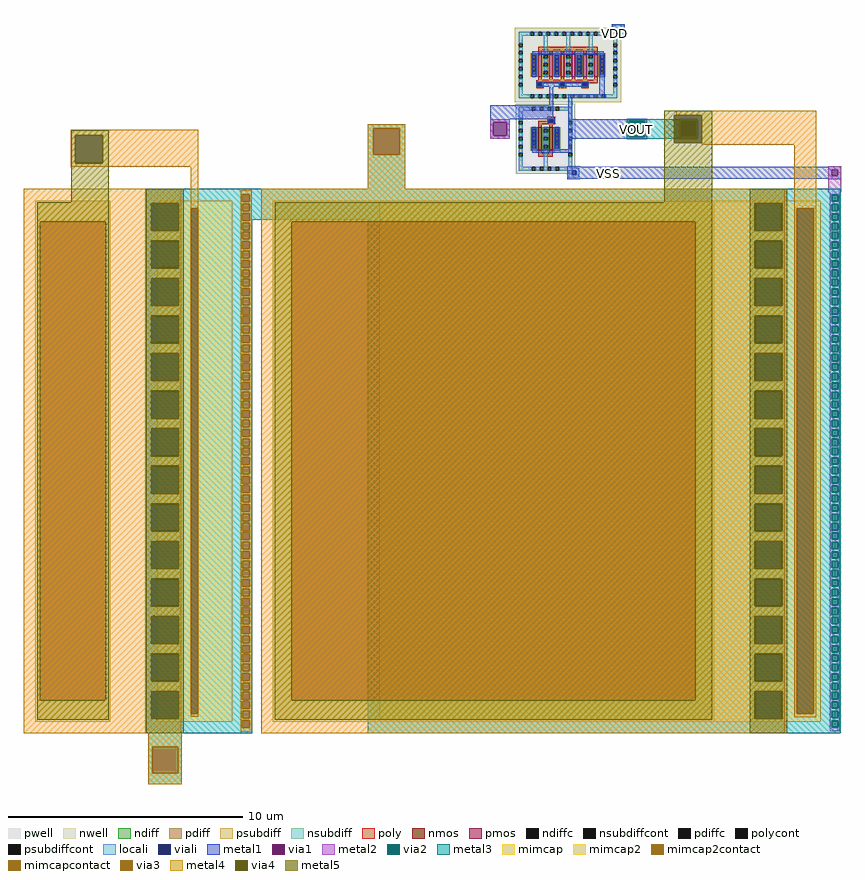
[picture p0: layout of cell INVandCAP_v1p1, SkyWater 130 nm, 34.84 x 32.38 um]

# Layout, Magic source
magic
tech sky130A
magscale 1 2
<< locali >>
rect 5018 6437 5118 6470
rect 5018 6403 5051 6437
rect 5085 6403 5118 6437
rect 5018 6370 5118 6403
rect 4646 5225 4734 5252
rect 4646 5191 4673 5225
rect 4707 5191 4734 5225
rect 4646 5164 4734 5191
<< viali >>
rect 5051 6403 5085 6437
rect 4673 5191 4707 5225
<< metal1 >>
rect 5012 6437 5124 6476
rect 5012 6403 5051 6437
rect 5085 6403 5124 6437
rect 5012 6364 5124 6403
rect 3976 5666 4512 5784
rect 3976 5640 4144 5666
rect 3976 5524 4002 5640
rect 4118 5524 4144 5640
rect 3976 5498 4144 5524
rect 4674 5640 5310 5666
rect 4674 5524 5168 5640
rect 5284 5524 5310 5640
rect 4674 5498 5310 5524
rect 4634 5258 4744 5264
rect 6862 5258 6968 5264
rect 4634 5234 6968 5258
rect 4634 5225 6886 5234
rect 4634 5191 4673 5225
rect 4707 5191 6886 5225
rect 4634 5182 6886 5191
rect 6938 5182 6968 5234
rect 4634 5158 6968 5182
rect 4634 5152 4744 5158
rect 6862 5152 6968 5158
<< via1 >>
rect 4002 5524 4118 5640
rect 5168 5524 5284 5640
rect 6886 5182 6938 5234
<< metal2 >>
rect 3976 5640 4144 5666
rect 3976 5524 4002 5640
rect 4118 5524 4144 5640
rect 3976 5498 4144 5524
rect 5138 5650 5314 5670
rect 5138 5514 5158 5650
rect 5294 5514 5314 5650
rect 5138 5494 5314 5514
rect 6856 5234 6968 5264
rect 6856 5182 6886 5234
rect 6938 5182 6968 5234
rect 6856 5044 6968 5182
<< via2 >>
rect 5158 5640 5294 5650
rect 5158 5524 5168 5640
rect 5168 5524 5284 5640
rect 5284 5524 5294 5640
rect 5158 5514 5294 5524
<< metal3 >>
rect 5140 5654 5746 5666
rect 5140 5650 5590 5654
rect 5140 5514 5158 5650
rect 5294 5514 5590 5650
rect 5140 5510 5590 5514
rect 5734 5510 5746 5654
rect 5140 5498 5746 5510
<< via3 >>
rect 5590 5510 5734 5654
<< metal4 >>
rect 5584 5654 5740 5660
rect 5584 5510 5590 5654
rect 5734 5510 5740 5654
rect 5584 5504 5740 5510
use CAPOSC_v1p1  CAPOSC_v1p1_0
transform 1 0 -3068 0 1 432
box 3068 -432 10032 5306
use INV_v1p1  INV_v1p1_0
transform 1 0 2818 0 1 5366
box 1366 -168 2276 1080
<< labels >>
flabel metal3 s 5220 5580 5220 5580 0 FreeSans 2000 0 0 0 VOUT
port 1 nsew
flabel metal1 s 5034 6392 5034 6392 0 FreeSans 2000 0 0 0 VDD
port 2 nsew
flabel metal1 s 4984 5204 4984 5204 0 FreeSans 2000 0 0 0 VSS
port 3 nsew
<< end >>

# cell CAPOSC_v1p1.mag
magic
tech sky130A
magscale 1 2
<< metal2 >>
rect 9938 4588 10022 4622
rect 9938 4532 9952 4588
rect 10008 4532 10022 4588
rect 9938 4508 10022 4532
rect 9938 4452 9952 4508
rect 10008 4452 10022 4508
rect 9938 4428 10022 4452
rect 9938 4372 9952 4428
rect 10008 4372 10022 4428
rect 9938 4348 10022 4372
rect 9938 4292 9952 4348
rect 10008 4292 10022 4348
rect 9938 4268 10022 4292
rect 9938 4212 9952 4268
rect 10008 4212 10022 4268
rect 9938 4188 10022 4212
rect 9938 4132 9952 4188
rect 10008 4132 10022 4188
rect 9938 4108 10022 4132
rect 9938 4052 9952 4108
rect 10008 4052 10022 4108
rect 9938 4028 10022 4052
rect 9938 3972 9952 4028
rect 10008 3972 10022 4028
rect 9938 3948 10022 3972
rect 9938 3892 9952 3948
rect 10008 3892 10022 3948
rect 9938 3868 10022 3892
rect 9938 3812 9952 3868
rect 10008 3812 10022 3868
rect 9938 3788 10022 3812
rect 9938 3732 9952 3788
rect 10008 3732 10022 3788
rect 9938 3708 10022 3732
rect 9938 3652 9952 3708
rect 10008 3652 10022 3708
rect 9938 3628 10022 3652
rect 9938 3572 9952 3628
rect 10008 3572 10022 3628
rect 9938 3548 10022 3572
rect 9938 3492 9952 3548
rect 10008 3492 10022 3548
rect 9938 3468 10022 3492
rect 9938 3412 9952 3468
rect 10008 3412 10022 3468
rect 9938 3388 10022 3412
rect 9938 3332 9952 3388
rect 10008 3332 10022 3388
rect 9938 3308 10022 3332
rect 9938 3252 9952 3308
rect 10008 3252 10022 3308
rect 9938 3228 10022 3252
rect 9938 3172 9952 3228
rect 10008 3172 10022 3228
rect 9938 3148 10022 3172
rect 9938 3092 9952 3148
rect 10008 3092 10022 3148
rect 9938 3068 10022 3092
rect 9938 3012 9952 3068
rect 10008 3012 10022 3068
rect 9938 2988 10022 3012
rect 9938 2932 9952 2988
rect 10008 2932 10022 2988
rect 9938 2908 10022 2932
rect 9938 2852 9952 2908
rect 10008 2852 10022 2908
rect 9938 2828 10022 2852
rect 9938 2772 9952 2828
rect 10008 2772 10022 2828
rect 9938 2748 10022 2772
rect 9938 2692 9952 2748
rect 10008 2692 10022 2748
rect 9938 2668 10022 2692
rect 9938 2612 9952 2668
rect 10008 2612 10022 2668
rect 9938 2588 10022 2612
rect 9938 2532 9952 2588
rect 10008 2532 10022 2588
rect 9938 2508 10022 2532
rect 9938 2452 9952 2508
rect 10008 2452 10022 2508
rect 9938 2428 10022 2452
rect 9938 2372 9952 2428
rect 10008 2372 10022 2428
rect 9938 2348 10022 2372
rect 9938 2292 9952 2348
rect 10008 2292 10022 2348
rect 9938 2268 10022 2292
rect 9938 2212 9952 2268
rect 10008 2212 10022 2268
rect 9938 2188 10022 2212
rect 9938 2132 9952 2188
rect 10008 2132 10022 2188
rect 9938 2108 10022 2132
rect 9938 2052 9952 2108
rect 10008 2052 10022 2108
rect 9938 2028 10022 2052
rect 9938 1972 9952 2028
rect 10008 1972 10022 2028
rect 9938 1948 10022 1972
rect 9938 1892 9952 1948
rect 10008 1892 10022 1948
rect 9938 1868 10022 1892
rect 9938 1812 9952 1868
rect 10008 1812 10022 1868
rect 9938 1788 10022 1812
rect 9938 1732 9952 1788
rect 10008 1732 10022 1788
rect 9938 1708 10022 1732
rect 9938 1652 9952 1708
rect 10008 1652 10022 1708
rect 9938 1628 10022 1652
rect 9938 1572 9952 1628
rect 10008 1572 10022 1628
rect 9938 1548 10022 1572
rect 9938 1492 9952 1548
rect 10008 1492 10022 1548
rect 9938 1468 10022 1492
rect 9938 1412 9952 1468
rect 10008 1412 10022 1468
rect 9938 1388 10022 1412
rect 9938 1332 9952 1388
rect 10008 1332 10022 1388
rect 9938 1308 10022 1332
rect 9938 1252 9952 1308
rect 10008 1252 10022 1308
rect 9938 1228 10022 1252
rect 9938 1172 9952 1228
rect 10008 1172 10022 1228
rect 9938 1148 10022 1172
rect 9938 1092 9952 1148
rect 10008 1092 10022 1148
rect 9938 1068 10022 1092
rect 9938 1012 9952 1068
rect 10008 1012 10022 1068
rect 9938 988 10022 1012
rect 9938 932 9952 988
rect 10008 932 10022 988
rect 9938 908 10022 932
rect 9938 852 9952 908
rect 10008 852 10022 908
rect 9938 828 10022 852
rect 9938 772 9952 828
rect 10008 772 10022 828
rect 9938 748 10022 772
rect 9938 692 9952 748
rect 10008 692 10022 748
rect 9938 668 10022 692
rect 9938 612 9952 668
rect 10008 612 10022 668
rect 9938 588 10022 612
rect 9938 532 9952 588
rect 10008 532 10022 588
rect 9938 508 10022 532
rect 9938 452 9952 508
rect 10008 452 10022 508
rect 9938 428 10022 452
rect 9938 372 9952 428
rect 10008 372 10022 428
rect 9938 348 10022 372
rect 9938 292 9952 348
rect 10008 292 10022 348
rect 9938 268 10022 292
rect 9938 212 9952 268
rect 10008 212 10022 268
rect 9938 188 10022 212
rect 9938 132 9952 188
rect 10008 132 10022 188
rect 9938 108 10022 132
rect 9938 52 9952 108
rect 10008 52 10022 108
rect 9938 18 10022 52
<< via2 >>
rect 9952 4532 10008 4588
rect 9952 4452 10008 4508
rect 9952 4372 10008 4428
rect 9952 4292 10008 4348
rect 9952 4212 10008 4268
rect 9952 4132 10008 4188
rect 9952 4052 10008 4108
rect 9952 3972 10008 4028
rect 9952 3892 10008 3948
rect 9952 3812 10008 3868
rect 9952 3732 10008 3788
rect 9952 3652 10008 3708
rect 9952 3572 10008 3628
rect 9952 3492 10008 3548
rect 9952 3412 10008 3468
rect 9952 3332 10008 3388
rect 9952 3252 10008 3308
rect 9952 3172 10008 3228
rect 9952 3092 10008 3148
rect 9952 3012 10008 3068
rect 9952 2932 10008 2988
rect 9952 2852 10008 2908
rect 9952 2772 10008 2828
rect 9952 2692 10008 2748
rect 9952 2612 10008 2668
rect 9952 2532 10008 2588
rect 9952 2452 10008 2508
rect 9952 2372 10008 2428
rect 9952 2292 10008 2348
rect 9952 2212 10008 2268
rect 9952 2132 10008 2188
rect 9952 2052 10008 2108
rect 9952 1972 10008 2028
rect 9952 1892 10008 1948
rect 9952 1812 10008 1868
rect 9952 1732 10008 1788
rect 9952 1652 10008 1708
rect 9952 1572 10008 1628
rect 9952 1492 10008 1548
rect 9952 1412 10008 1468
rect 9952 1332 10008 1388
rect 9952 1252 10008 1308
rect 9952 1172 10008 1228
rect 9952 1092 10008 1148
rect 9952 1012 10008 1068
rect 9952 932 10008 988
rect 9952 852 10008 908
rect 9952 772 10008 828
rect 9952 692 10008 748
rect 9952 612 10008 668
rect 9952 532 10008 588
rect 9952 452 10008 508
rect 9952 372 10008 428
rect 9952 292 10008 348
rect 9952 212 10008 268
rect 9952 132 10008 188
rect 9952 52 10008 108
<< metal3 >>
rect 6000 5154 6320 5190
rect 6000 4930 6048 5154
rect 6272 4930 6320 5154
rect 6000 4640 6320 4930
rect 5016 4588 10032 4640
rect 5016 4532 9952 4588
rect 10008 4532 10032 4588
rect 5016 4508 10032 4532
rect 5016 4452 9952 4508
rect 10008 4452 10032 4508
rect 5016 4428 10032 4452
rect 5016 4374 9952 4428
rect 6000 4372 9952 4374
rect 10008 4372 10032 4428
rect 6000 4348 10032 4372
rect 6000 4292 9952 4348
rect 10008 4292 10032 4348
rect 6000 4268 10032 4292
rect 6000 4212 9952 4268
rect 10008 4212 10032 4268
rect 6000 4188 10032 4212
rect 6000 4132 9952 4188
rect 10008 4132 10032 4188
rect 6000 4108 10032 4132
rect 6000 4052 9952 4108
rect 10008 4052 10032 4108
rect 6000 4028 10032 4052
rect 6000 3972 9952 4028
rect 10008 3972 10032 4028
rect 6000 3948 10032 3972
rect 6000 3892 9952 3948
rect 10008 3892 10032 3948
rect 6000 3868 10032 3892
rect 6000 3812 9952 3868
rect 10008 3812 10032 3868
rect 6000 3788 10032 3812
rect 6000 3732 9952 3788
rect 10008 3732 10032 3788
rect 6000 3708 10032 3732
rect 6000 3652 9952 3708
rect 10008 3652 10032 3708
rect 6000 3628 10032 3652
rect 6000 3572 9952 3628
rect 10008 3572 10032 3628
rect 6000 3548 10032 3572
rect 6000 3492 9952 3548
rect 10008 3492 10032 3548
rect 6000 3468 10032 3492
rect 6000 3412 9952 3468
rect 10008 3412 10032 3468
rect 6000 3388 10032 3412
rect 6000 3332 9952 3388
rect 10008 3332 10032 3388
rect 6000 3308 10032 3332
rect 6000 3252 9952 3308
rect 10008 3252 10032 3308
rect 6000 3228 10032 3252
rect 6000 3172 9952 3228
rect 10008 3172 10032 3228
rect 6000 3148 10032 3172
rect 6000 3092 9952 3148
rect 10008 3092 10032 3148
rect 6000 3068 10032 3092
rect 6000 3012 9952 3068
rect 10008 3012 10032 3068
rect 6000 2988 10032 3012
rect 6000 2932 9952 2988
rect 10008 2932 10032 2988
rect 6000 2908 10032 2932
rect 6000 2852 9952 2908
rect 10008 2852 10032 2908
rect 6000 2828 10032 2852
rect 6000 2772 9952 2828
rect 10008 2772 10032 2828
rect 6000 2748 10032 2772
rect 6000 2692 9952 2748
rect 10008 2692 10032 2748
rect 6000 2668 10032 2692
rect 6000 2612 9952 2668
rect 10008 2612 10032 2668
rect 6000 2588 10032 2612
rect 6000 2532 9952 2588
rect 10008 2532 10032 2588
rect 6000 2508 10032 2532
rect 6000 2452 9952 2508
rect 10008 2452 10032 2508
rect 6000 2428 10032 2452
rect 6000 2372 9952 2428
rect 10008 2372 10032 2428
rect 6000 2348 10032 2372
rect 6000 2292 9952 2348
rect 10008 2292 10032 2348
rect 6000 2268 10032 2292
rect 6000 2212 9952 2268
rect 10008 2212 10032 2268
rect 6000 2188 10032 2212
rect 6000 2132 9952 2188
rect 10008 2132 10032 2188
rect 6000 2108 10032 2132
rect 6000 2052 9952 2108
rect 10008 2052 10032 2108
rect 6000 2028 10032 2052
rect 6000 1972 9952 2028
rect 10008 1972 10032 2028
rect 6000 1948 10032 1972
rect 6000 1892 9952 1948
rect 10008 1892 10032 1948
rect 6000 1868 10032 1892
rect 6000 1812 9952 1868
rect 10008 1812 10032 1868
rect 6000 1788 10032 1812
rect 6000 1732 9952 1788
rect 10008 1732 10032 1788
rect 6000 1708 10032 1732
rect 6000 1652 9952 1708
rect 10008 1652 10032 1708
rect 6000 1628 10032 1652
rect 6000 1572 9952 1628
rect 10008 1572 10032 1628
rect 6000 1548 10032 1572
rect 6000 1492 9952 1548
rect 10008 1492 10032 1548
rect 6000 1468 10032 1492
rect 6000 1412 9952 1468
rect 10008 1412 10032 1468
rect 6000 1388 10032 1412
rect 6000 1332 9952 1388
rect 10008 1332 10032 1388
rect 6000 1308 10032 1332
rect 6000 1252 9952 1308
rect 10008 1252 10032 1308
rect 6000 1228 10032 1252
rect 6000 1172 9952 1228
rect 10008 1172 10032 1228
rect 6000 1148 10032 1172
rect 6000 1092 9952 1148
rect 10008 1092 10032 1148
rect 6000 1068 10032 1092
rect 6000 1012 9952 1068
rect 10008 1012 10032 1068
rect 6000 988 10032 1012
rect 6000 932 9952 988
rect 10008 932 10032 988
rect 6000 908 10032 932
rect 6000 852 9952 908
rect 10008 852 10032 908
rect 6000 828 10032 852
rect 6000 772 9952 828
rect 10008 772 10032 828
rect 6000 748 10032 772
rect 6000 692 9952 748
rect 10008 692 10032 748
rect 6000 668 10032 692
rect 6000 612 9952 668
rect 10008 612 10032 668
rect 6000 588 10032 612
rect 6000 532 9952 588
rect 10008 532 10032 588
rect 6000 508 10032 532
rect 6000 452 9952 508
rect 10008 452 10032 508
rect 6000 428 10032 452
rect 6000 372 9952 428
rect 10008 372 10032 428
rect 6000 348 10032 372
rect 6000 292 9952 348
rect 10008 292 10032 348
rect 6000 268 10032 292
rect 6000 212 9952 268
rect 10008 212 10032 268
rect 6000 188 10032 212
rect 6000 132 9952 188
rect 10008 132 10032 188
rect 6000 108 10032 132
rect 6000 52 9952 108
rect 10008 52 10032 108
rect 4130 -116 4414 2
rect 6000 0 10032 52
rect 4130 -340 4162 -116
rect 4386 -340 4414 -116
rect 4130 -432 4414 -340
<< via3 >>
rect 6048 4930 6272 5154
rect 4162 -340 4386 -116
<< mimcap >>
rect 6100 4472 9860 4540
rect 6100 168 9656 4472
rect 9800 168 9860 4472
rect 6100 100 9860 168
<< mimcapcontact >>
rect 9656 168 9800 4472
<< metal4 >>
rect 8628 5268 9822 5306
rect 6000 5154 6320 5190
rect 3470 5094 4558 5142
rect 3470 4858 3506 5094
rect 3742 4858 4558 5094
rect 3470 4826 4558 4858
rect 4490 4498 4558 4826
rect 6000 4930 6048 5154
rect 6272 4930 6320 5154
rect 8848 5014 9822 5268
rect 6000 4640 6320 4930
rect 9634 4472 9822 5014
rect 9634 168 9656 4472
rect 9800 168 9822 4472
rect 9634 138 9822 168
rect 4130 -116 4414 2
rect 4130 -340 4162 -116
rect 4386 -340 4414 -116
rect 4130 -432 4414 -340
<< via4 >>
rect 3506 4858 3742 5094
rect 8612 5032 8848 5268
<< metal5 >>
rect 8526 5268 8936 5306
rect 3472 5094 3792 5140
rect 3472 4858 3506 5094
rect 3742 4858 3792 5094
rect 3472 4524 3792 4858
rect 8526 5032 8612 5268
rect 8848 5032 8936 5268
rect 3472 4500 3506 4524
rect 8526 4500 8936 5032
use sky130_fd_pr__cap_mim_m3_1_9K4XRG  sky130_fd_pr__cap_mim_m3_1_9K4XRG_0
transform 1 0 4560 0 1 2320
box -456 -2320 456 2320
use sky130_fd_pr__cap_mim_m3_2_4SGG6N  sky130_fd_pr__cap_mim_m3_2_4SGG6N_0
transform 1 0 7323 0 1 2320
box -2231 -2321 2253 2321
use sky130_fd_pr__cap_mim_m3_2_7PBNAZ  sky130_fd_pr__cap_mim_m3_2_7PBNAZ_0
transform 1 0 3739 0 1 2320
box -671 -2321 693 2321
<< labels >>
flabel metal4 s 6140 4764 6140 4764 0 FreeSans 2000 0 0 0 BOT
port 1 nsew
flabel metal4 s 4110 4986 4110 4986 0 FreeSans 2000 0 0 0 TOP_V
port 2 nsew
flabel metal4 s 9210 5152 9210 5152 0 FreeSans 2000 0 0 0 TOP_B
port 3 nsew
<< end >>

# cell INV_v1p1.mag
magic
tech sky130A
magscale 1 2
<< nwell >>
rect 1366 442 2276 1080
<< pwell >>
rect 1376 -168 1882 432
<< nmos >>
rect 1566 32 1596 232
rect 1662 32 1692 232
<< pmos >>
rect 1566 661 1596 861
rect 1662 661 1692 861
rect 1758 661 1788 861
rect 1854 661 1884 861
rect 1950 661 1980 861
rect 2046 661 2076 861
<< ndiff >>
rect 1504 217 1566 232
rect 1504 183 1516 217
rect 1550 183 1566 217
rect 1504 149 1566 183
rect 1504 115 1516 149
rect 1550 115 1566 149
rect 1504 81 1566 115
rect 1504 47 1516 81
rect 1550 47 1566 81
rect 1504 32 1566 47
rect 1596 217 1662 232
rect 1596 183 1612 217
rect 1646 183 1662 217
rect 1596 149 1662 183
rect 1596 115 1612 149
rect 1646 115 1662 149
rect 1596 81 1662 115
rect 1596 47 1612 81
rect 1646 47 1662 81
rect 1596 32 1662 47
rect 1692 217 1754 232
rect 1692 183 1708 217
rect 1742 183 1754 217
rect 1692 149 1754 183
rect 1692 115 1708 149
rect 1742 115 1754 149
rect 1692 81 1754 115
rect 1692 47 1708 81
rect 1742 47 1754 81
rect 1692 32 1754 47
<< pdiff >>
rect 1504 846 1566 861
rect 1504 812 1516 846
rect 1550 812 1566 846
rect 1504 778 1566 812
rect 1504 744 1516 778
rect 1550 744 1566 778
rect 1504 710 1566 744
rect 1504 676 1516 710
rect 1550 676 1566 710
rect 1504 661 1566 676
rect 1596 846 1662 861
rect 1596 812 1612 846
rect 1646 812 1662 846
rect 1596 778 1662 812
rect 1596 744 1612 778
rect 1646 744 1662 778
rect 1596 710 1662 744
rect 1596 676 1612 710
rect 1646 676 1662 710
rect 1596 661 1662 676
rect 1692 846 1758 861
rect 1692 812 1708 846
rect 1742 812 1758 846
rect 1692 778 1758 812
rect 1692 744 1708 778
rect 1742 744 1758 778
rect 1692 710 1758 744
rect 1692 676 1708 710
rect 1742 676 1758 710
rect 1692 661 1758 676
rect 1788 846 1854 861
rect 1788 812 1804 846
rect 1838 812 1854 846
rect 1788 778 1854 812
rect 1788 744 1804 778
rect 1838 744 1854 778
rect 1788 710 1854 744
rect 1788 676 1804 710
rect 1838 676 1854 710
rect 1788 661 1854 676
rect 1884 846 1950 861
rect 1884 812 1900 846
rect 1934 812 1950 846
rect 1884 778 1950 812
rect 1884 744 1900 778
rect 1934 744 1950 778
rect 1884 710 1950 744
rect 1884 676 1900 710
rect 1934 676 1950 710
rect 1884 661 1950 676
rect 1980 846 2046 861
rect 1980 812 1996 846
rect 2030 812 2046 846
rect 1980 778 2046 812
rect 1980 744 1996 778
rect 2030 744 2046 778
rect 1980 710 2046 744
rect 1980 676 1996 710
rect 2030 676 2046 710
rect 1980 661 2046 676
rect 2076 846 2138 861
rect 2076 812 2092 846
rect 2126 812 2138 846
rect 2076 778 2138 812
rect 2076 744 2092 778
rect 2126 744 2138 778
rect 2076 710 2138 744
rect 2076 676 2092 710
rect 2126 676 2138 710
rect 2076 661 2138 676
<< ndiffc >>
rect 1516 183 1550 217
rect 1516 115 1550 149
rect 1516 47 1550 81
rect 1612 183 1646 217
rect 1612 115 1646 149
rect 1612 47 1646 81
rect 1708 183 1742 217
rect 1708 115 1742 149
rect 1708 47 1742 81
<< pdiffc >>
rect 1516 812 1550 846
rect 1516 744 1550 778
rect 1516 676 1550 710
rect 1612 812 1646 846
rect 1612 744 1646 778
rect 1612 676 1646 710
rect 1708 812 1742 846
rect 1708 744 1742 778
rect 1708 676 1742 710
rect 1804 812 1838 846
rect 1804 744 1838 778
rect 1804 676 1838 710
rect 1900 812 1934 846
rect 1900 744 1934 778
rect 1900 676 1934 710
rect 1996 812 2030 846
rect 1996 744 2030 778
rect 1996 676 2030 710
rect 2092 812 2126 846
rect 2092 744 2126 778
rect 2092 676 2126 710
<< psubdiff >>
rect 1402 372 1510 406
rect 1544 372 1578 406
rect 1612 372 1646 406
rect 1680 372 1714 406
rect 1748 372 1856 406
rect 1402 285 1436 372
rect 1402 217 1436 251
rect 1822 285 1856 372
rect 1402 149 1436 183
rect 1402 81 1436 115
rect 1402 13 1436 47
rect 1822 217 1856 251
rect 1822 149 1856 183
rect 1822 81 1856 115
rect 1822 13 1856 47
rect 1402 -108 1436 -21
rect 1822 -108 1856 -21
rect 1402 -142 1510 -108
rect 1544 -142 1578 -108
rect 1612 -142 1646 -108
rect 1680 -142 1714 -108
rect 1748 -142 1856 -108
<< nsubdiff >>
rect 1402 1010 1498 1044
rect 1532 1010 1566 1044
rect 1600 1010 1634 1044
rect 1668 1010 1702 1044
rect 1736 1010 1770 1044
rect 1804 1010 1838 1044
rect 1872 1010 1906 1044
rect 1940 1010 1974 1044
rect 2008 1010 2042 1044
rect 2076 1010 2110 1044
rect 2144 1010 2240 1044
rect 1402 948 1436 1010
rect 2206 948 2240 1010
rect 1402 880 1436 914
rect 2206 880 2240 914
rect 1402 812 1436 846
rect 1402 744 1436 778
rect 1402 676 1436 710
rect 2206 812 2240 846
rect 2206 744 2240 778
rect 2206 676 2240 710
rect 1402 608 1436 642
rect 1402 512 1436 574
rect 2206 608 2240 642
rect 2206 512 2240 574
rect 1402 478 1498 512
rect 1532 478 1566 512
rect 1600 478 1634 512
rect 1668 478 1702 512
rect 1736 478 1770 512
rect 1804 478 1838 512
rect 1872 478 1906 512
rect 1940 478 1974 512
rect 2008 478 2042 512
rect 2076 478 2110 512
rect 2144 478 2240 512
<< psubdiffcont >>
rect 1510 372 1544 406
rect 1578 372 1612 406
rect 1646 372 1680 406
rect 1714 372 1748 406
rect 1402 251 1436 285
rect 1822 251 1856 285
rect 1402 183 1436 217
rect 1402 115 1436 149
rect 1402 47 1436 81
rect 1822 183 1856 217
rect 1822 115 1856 149
rect 1822 47 1856 81
rect 1402 -21 1436 13
rect 1822 -21 1856 13
rect 1510 -142 1544 -108
rect 1578 -142 1612 -108
rect 1646 -142 1680 -108
rect 1714 -142 1748 -108
<< nsubdiffcont >>
rect 1498 1010 1532 1044
rect 1566 1010 1600 1044
rect 1634 1010 1668 1044
rect 1702 1010 1736 1044
rect 1770 1010 1804 1044
rect 1838 1010 1872 1044
rect 1906 1010 1940 1044
rect 1974 1010 2008 1044
rect 2042 1010 2076 1044
rect 2110 1010 2144 1044
rect 1402 914 1436 948
rect 1402 846 1436 880
rect 2206 914 2240 948
rect 1402 778 1436 812
rect 1402 710 1436 744
rect 1402 642 1436 676
rect 2206 846 2240 880
rect 2206 778 2240 812
rect 2206 710 2240 744
rect 1402 574 1436 608
rect 2206 642 2240 676
rect 2206 574 2240 608
rect 1498 478 1532 512
rect 1566 478 1600 512
rect 1634 478 1668 512
rect 1702 478 1736 512
rect 1770 478 1804 512
rect 1838 478 1872 512
rect 1906 478 1940 512
rect 1974 478 2008 512
rect 2042 478 2076 512
rect 2110 478 2144 512
<< poly >>
rect 1566 886 2076 916
rect 1566 861 1596 886
rect 1662 861 1692 886
rect 1758 861 1788 886
rect 1854 861 1884 886
rect 1950 861 1980 886
rect 2046 861 2076 886
rect 1566 636 1596 661
rect 1662 636 1692 661
rect 1758 636 1788 661
rect 1854 636 1884 661
rect 1950 636 1980 661
rect 2046 636 2076 661
rect 1566 630 2076 636
rect 1548 614 2076 630
rect 1548 580 1564 614
rect 1598 606 1756 614
rect 1598 580 1614 606
rect 1548 564 1614 580
rect 1740 580 1756 606
rect 1790 606 1948 614
rect 1790 580 1806 606
rect 1740 564 1806 580
rect 1932 580 1948 606
rect 1982 606 2076 614
rect 1982 580 1998 606
rect 1932 564 1998 580
rect 1644 304 1710 320
rect 1644 284 1660 304
rect 1566 270 1660 284
rect 1694 270 1710 304
rect 1566 254 1710 270
rect 1566 232 1596 254
rect 1662 232 1692 254
rect 1566 10 1596 32
rect 1662 10 1692 32
rect 1566 -20 1692 10
<< polycont >>
rect 1564 580 1598 614
rect 1756 580 1790 614
rect 1948 580 1982 614
rect 1660 270 1694 304
<< locali >>
rect 1402 1010 1498 1044
rect 1532 1010 1566 1044
rect 1600 1010 1634 1044
rect 1668 1010 1702 1044
rect 1736 1010 1770 1044
rect 1402 948 1436 1010
rect 1402 880 1436 914
rect 1402 812 1436 846
rect 1402 744 1436 778
rect 1402 676 1436 710
rect 1516 846 1550 865
rect 1516 778 1550 780
rect 1516 742 1550 744
rect 1516 657 1550 676
rect 1612 846 1646 1010
rect 1612 778 1646 812
rect 1612 710 1646 744
rect 1612 657 1646 676
rect 1708 846 1742 865
rect 1708 778 1742 780
rect 1708 742 1742 744
rect 1708 657 1742 676
rect 1804 846 1838 1044
rect 1872 1010 1906 1044
rect 1940 1010 1974 1044
rect 2008 1010 2042 1044
rect 2076 1010 2110 1044
rect 2144 1010 2240 1044
rect 1804 778 1838 812
rect 1804 710 1838 744
rect 1804 657 1838 676
rect 1900 846 1934 865
rect 1900 778 1934 780
rect 1900 742 1934 744
rect 1900 657 1934 676
rect 1996 846 2030 1010
rect 2206 948 2240 1010
rect 2206 880 2240 914
rect 1996 778 2030 812
rect 1996 710 2030 744
rect 1996 657 2030 676
rect 2092 846 2126 865
rect 2092 778 2126 780
rect 2092 742 2126 744
rect 2092 657 2126 676
rect 2206 812 2240 846
rect 2206 744 2240 778
rect 2206 676 2240 710
rect 1402 608 1436 642
rect 1548 580 1564 614
rect 1598 580 1614 614
rect 1740 580 1756 614
rect 1790 580 1806 614
rect 1932 580 1948 614
rect 1982 580 1998 614
rect 2206 608 2240 642
rect 1402 512 1436 574
rect 2206 512 2240 574
rect 1402 478 1498 512
rect 1532 478 1566 512
rect 1600 478 1634 512
rect 1668 478 1702 512
rect 1736 478 1770 512
rect 1804 478 1838 512
rect 1872 478 1906 512
rect 1940 478 1974 512
rect 2008 478 2042 512
rect 2076 478 2110 512
rect 2144 478 2240 512
rect 1402 372 1510 406
rect 1544 372 1578 406
rect 1612 372 1646 406
rect 1680 372 1714 406
rect 1748 372 1856 406
rect 1402 285 1436 372
rect 1644 270 1660 304
rect 1694 270 1710 304
rect 1822 285 1856 372
rect 1402 217 1436 251
rect 1402 149 1436 183
rect 1402 81 1436 115
rect 1402 13 1436 47
rect 1516 217 1550 236
rect 1516 149 1550 151
rect 1516 113 1550 115
rect 1516 28 1550 47
rect 1612 217 1646 236
rect 1612 149 1646 183
rect 1612 81 1646 115
rect 1402 -108 1436 -21
rect 1402 -142 1510 -108
rect 1544 -142 1578 -108
rect 1612 -142 1646 47
rect 1708 217 1742 236
rect 1708 149 1742 151
rect 1708 113 1742 115
rect 1708 28 1742 47
rect 1822 217 1856 251
rect 1822 149 1856 183
rect 1822 81 1856 115
rect 1822 13 1856 47
rect 1822 -108 1856 -21
rect 1680 -142 1714 -108
rect 1748 -142 1856 -108
<< viali >>
rect 1516 812 1550 814
rect 1516 780 1550 812
rect 1516 710 1550 742
rect 1516 708 1550 710
rect 1708 812 1742 814
rect 1708 780 1742 812
rect 1708 710 1742 742
rect 1708 708 1742 710
rect 1900 812 1934 814
rect 1900 780 1934 812
rect 1900 710 1934 742
rect 1900 708 1934 710
rect 2092 812 2126 814
rect 2092 780 2126 812
rect 2092 710 2126 742
rect 2092 708 2126 710
rect 1564 580 1598 614
rect 1756 580 1790 614
rect 1948 580 1982 614
rect 1660 270 1694 304
rect 1516 183 1550 185
rect 1516 151 1550 183
rect 1516 81 1550 113
rect 1516 79 1550 81
rect 1708 183 1742 185
rect 1708 151 1742 183
rect 1708 81 1742 113
rect 1708 79 1742 81
<< metal1 >>
rect 1516 861 2126 876
rect 1510 848 2132 861
rect 1510 814 1556 848
rect 1510 780 1516 814
rect 1550 780 1556 814
rect 1510 742 1556 780
rect 1510 708 1516 742
rect 1550 708 1556 742
rect 1510 661 1556 708
rect 1702 814 1748 848
rect 1702 780 1708 814
rect 1742 780 1748 814
rect 1702 742 1748 780
rect 1702 708 1708 742
rect 1742 708 1748 742
rect 1702 661 1748 708
rect 1894 814 1940 848
rect 1894 780 1900 814
rect 1934 780 1940 814
rect 1894 742 1940 780
rect 1894 708 1900 742
rect 1934 708 1940 742
rect 1894 661 1940 708
rect 2086 814 2132 848
rect 2086 780 2092 814
rect 2126 780 2132 814
rect 2086 742 2132 780
rect 2086 708 2092 742
rect 2126 708 2132 742
rect 1552 614 1994 620
rect 1552 580 1564 614
rect 1598 580 1756 614
rect 1790 580 1948 614
rect 1982 580 1994 614
rect 1552 574 1994 580
rect 1660 310 1694 574
rect 2086 512 2132 708
rect 1822 478 2132 512
rect 1648 304 1706 310
rect 1648 270 1660 304
rect 1694 270 1706 304
rect 1648 264 1706 270
rect 1510 185 1556 232
rect 1510 151 1516 185
rect 1550 151 1556 185
rect 1510 113 1556 151
rect 1510 79 1516 113
rect 1550 79 1556 113
rect 1510 44 1556 79
rect 1702 185 1748 232
rect 1702 151 1708 185
rect 1742 151 1748 185
rect 1702 113 1748 151
rect 1702 79 1708 113
rect 1742 79 1748 113
rect 1702 44 1748 79
rect 1822 44 1856 478
rect 1510 32 1856 44
rect 1516 14 1856 32
<< labels >>
rlabel metal1 s 1674 432 1674 432 4 VIN
port 1 nsew
rlabel metal1 s 1838 430 1838 430 4 VOUT
port 2 nsew
rlabel locali s 2224 1024 2224 1024 4 VDD
port 3 nsew
rlabel locali s 1838 -122 1838 -122 4 VSS
port 4 nsew
<< end >>

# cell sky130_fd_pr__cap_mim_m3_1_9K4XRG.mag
magic
tech sky130A
magscale 1 2
<< metal3 >>
rect -456 2272 456 2320
rect -456 2208 372 2272
rect 436 2208 456 2272
rect -456 2192 456 2208
rect -456 2128 372 2192
rect 436 2128 456 2192
rect -456 2112 456 2128
rect -456 2048 372 2112
rect 436 2048 456 2112
rect -456 2032 456 2048
rect -456 1968 372 2032
rect 436 1968 456 2032
rect -456 1952 456 1968
rect -456 1888 372 1952
rect 436 1888 456 1952
rect -456 1872 456 1888
rect -456 1808 372 1872
rect 436 1808 456 1872
rect -456 1792 456 1808
rect -456 1728 372 1792
rect 436 1728 456 1792
rect -456 1712 456 1728
rect -456 1648 372 1712
rect 436 1648 456 1712
rect -456 1632 456 1648
rect -456 1568 372 1632
rect 436 1568 456 1632
rect -456 1552 456 1568
rect -456 1488 372 1552
rect 436 1488 456 1552
rect -456 1472 456 1488
rect -456 1408 372 1472
rect 436 1408 456 1472
rect -456 1392 456 1408
rect -456 1328 372 1392
rect 436 1328 456 1392
rect -456 1312 456 1328
rect -456 1248 372 1312
rect 436 1248 456 1312
rect -456 1232 456 1248
rect -456 1168 372 1232
rect 436 1168 456 1232
rect -456 1152 456 1168
rect -456 1088 372 1152
rect 436 1088 456 1152
rect -456 1072 456 1088
rect -456 1008 372 1072
rect 436 1008 456 1072
rect -456 992 456 1008
rect -456 928 372 992
rect 436 928 456 992
rect -456 912 456 928
rect -456 848 372 912
rect 436 848 456 912
rect -456 832 456 848
rect -456 768 372 832
rect 436 768 456 832
rect -456 752 456 768
rect -456 688 372 752
rect 436 688 456 752
rect -456 672 456 688
rect -456 608 372 672
rect 436 608 456 672
rect -456 592 456 608
rect -456 528 372 592
rect 436 528 456 592
rect -456 512 456 528
rect -456 448 372 512
rect 436 448 456 512
rect -456 432 456 448
rect -456 368 372 432
rect 436 368 456 432
rect -456 352 456 368
rect -456 288 372 352
rect 436 288 456 352
rect -456 272 456 288
rect -456 208 372 272
rect 436 208 456 272
rect -456 192 456 208
rect -456 128 372 192
rect 436 128 456 192
rect -456 112 456 128
rect -456 48 372 112
rect 436 48 456 112
rect -456 32 456 48
rect -456 -32 372 32
rect 436 -32 456 32
rect -456 -48 456 -32
rect -456 -112 372 -48
rect 436 -112 456 -48
rect -456 -128 456 -112
rect -456 -192 372 -128
rect 436 -192 456 -128
rect -456 -208 456 -192
rect -456 -272 372 -208
rect 436 -272 456 -208
rect -456 -288 456 -272
rect -456 -352 372 -288
rect 436 -352 456 -288
rect -456 -368 456 -352
rect -456 -432 372 -368
rect 436 -432 456 -368
rect -456 -448 456 -432
rect -456 -512 372 -448
rect 436 -512 456 -448
rect -456 -528 456 -512
rect -456 -592 372 -528
rect 436 -592 456 -528
rect -456 -608 456 -592
rect -456 -672 372 -608
rect 436 -672 456 -608
rect -456 -688 456 -672
rect -456 -752 372 -688
rect 436 -752 456 -688
rect -456 -768 456 -752
rect -456 -832 372 -768
rect 436 -832 456 -768
rect -456 -848 456 -832
rect -456 -912 372 -848
rect 436 -912 456 -848
rect -456 -928 456 -912
rect -456 -992 372 -928
rect 436 -992 456 -928
rect -456 -1008 456 -992
rect -456 -1072 372 -1008
rect 436 -1072 456 -1008
rect -456 -1088 456 -1072
rect -456 -1152 372 -1088
rect 436 -1152 456 -1088
rect -456 -1168 456 -1152
rect -456 -1232 372 -1168
rect 436 -1232 456 -1168
rect -456 -1248 456 -1232
rect -456 -1312 372 -1248
rect 436 -1312 456 -1248
rect -456 -1328 456 -1312
rect -456 -1392 372 -1328
rect 436 -1392 456 -1328
rect -456 -1408 456 -1392
rect -456 -1472 372 -1408
rect 436 -1472 456 -1408
rect -456 -1488 456 -1472
rect -456 -1552 372 -1488
rect 436 -1552 456 -1488
rect -456 -1568 456 -1552
rect -456 -1632 372 -1568
rect 436 -1632 456 -1568
rect -456 -1648 456 -1632
rect -456 -1712 372 -1648
rect 436 -1712 456 -1648
rect -456 -1728 456 -1712
rect -456 -1792 372 -1728
rect 436 -1792 456 -1728
rect -456 -1808 456 -1792
rect -456 -1872 372 -1808
rect 436 -1872 456 -1808
rect -456 -1888 456 -1872
rect -456 -1952 372 -1888
rect 436 -1952 456 -1888
rect -456 -1968 456 -1952
rect -456 -2032 372 -1968
rect 436 -2032 456 -1968
rect -456 -2048 456 -2032
rect -456 -2112 372 -2048
rect 436 -2112 456 -2048
rect -456 -2128 456 -2112
rect -456 -2192 372 -2128
rect 436 -2192 456 -2128
rect -456 -2208 456 -2192
rect -456 -2272 372 -2208
rect 436 -2272 456 -2208
rect -456 -2320 456 -2272
<< via3 >>
rect 372 2208 436 2272
rect 372 2128 436 2192
rect 372 2048 436 2112
rect 372 1968 436 2032
rect 372 1888 436 1952
rect 372 1808 436 1872
rect 372 1728 436 1792
rect 372 1648 436 1712
rect 372 1568 436 1632
rect 372 1488 436 1552
rect 372 1408 436 1472
rect 372 1328 436 1392
rect 372 1248 436 1312
rect 372 1168 436 1232
rect 372 1088 436 1152
rect 372 1008 436 1072
rect 372 928 436 992
rect 372 848 436 912
rect 372 768 436 832
rect 372 688 436 752
rect 372 608 436 672
rect 372 528 436 592
rect 372 448 436 512
rect 372 368 436 432
rect 372 288 436 352
rect 372 208 436 272
rect 372 128 436 192
rect 372 48 436 112
rect 372 -32 436 32
rect 372 -112 436 -48
rect 372 -192 436 -128
rect 372 -272 436 -208
rect 372 -352 436 -288
rect 372 -432 436 -368
rect 372 -512 436 -448
rect 372 -592 436 -528
rect 372 -672 436 -608
rect 372 -752 436 -688
rect 372 -832 436 -768
rect 372 -912 436 -848
rect 372 -992 436 -928
rect 372 -1072 436 -1008
rect 372 -1152 436 -1088
rect 372 -1232 436 -1168
rect 372 -1312 436 -1248
rect 372 -1392 436 -1328
rect 372 -1472 436 -1408
rect 372 -1552 436 -1488
rect 372 -1632 436 -1568
rect 372 -1712 436 -1648
rect 372 -1792 436 -1728
rect 372 -1872 436 -1808
rect 372 -1952 436 -1888
rect 372 -2032 436 -1968
rect 372 -2112 436 -2048
rect 372 -2192 436 -2128
rect 372 -2272 436 -2208
<< mimcap >>
rect -356 2152 284 2220
rect -356 -2152 -68 2152
rect -4 -2152 284 2152
rect -356 -2220 284 -2152
<< mimcapcontact >>
rect -68 -2152 -4 2152
<< metal4 >>
rect 356 2272 452 2308
rect 356 2208 372 2272
rect 436 2208 452 2272
rect 356 2192 452 2208
rect -69 2152 -3 2181
rect -69 -2152 -68 2152
rect -4 -2152 -3 2152
rect -69 -2181 -3 -2152
rect 356 2128 372 2192
rect 436 2128 452 2192
rect 356 2112 452 2128
rect 356 2048 372 2112
rect 436 2048 452 2112
rect 356 2032 452 2048
rect 356 1968 372 2032
rect 436 1968 452 2032
rect 356 1952 452 1968
rect 356 1888 372 1952
rect 436 1888 452 1952
rect 356 1872 452 1888
rect 356 1808 372 1872
rect 436 1808 452 1872
rect 356 1792 452 1808
rect 356 1728 372 1792
rect 436 1728 452 1792
rect 356 1712 452 1728
rect 356 1648 372 1712
rect 436 1648 452 1712
rect 356 1632 452 1648
rect 356 1568 372 1632
rect 436 1568 452 1632
rect 356 1552 452 1568
rect 356 1488 372 1552
rect 436 1488 452 1552
rect 356 1472 452 1488
rect 356 1408 372 1472
rect 436 1408 452 1472
rect 356 1392 452 1408
rect 356 1328 372 1392
rect 436 1328 452 1392
rect 356 1312 452 1328
rect 356 1248 372 1312
rect 436 1248 452 1312
rect 356 1232 452 1248
rect 356 1168 372 1232
rect 436 1168 452 1232
rect 356 1152 452 1168
rect 356 1088 372 1152
rect 436 1088 452 1152
rect 356 1072 452 1088
rect 356 1008 372 1072
rect 436 1008 452 1072
rect 356 992 452 1008
rect 356 928 372 992
rect 436 928 452 992
rect 356 912 452 928
rect 356 848 372 912
rect 436 848 452 912
rect 356 832 452 848
rect 356 768 372 832
rect 436 768 452 832
rect 356 752 452 768
rect 356 688 372 752
rect 436 688 452 752
rect 356 672 452 688
rect 356 608 372 672
rect 436 608 452 672
rect 356 592 452 608
rect 356 528 372 592
rect 436 528 452 592
rect 356 512 452 528
rect 356 448 372 512
rect 436 448 452 512
rect 356 432 452 448
rect 356 368 372 432
rect 436 368 452 432
rect 356 352 452 368
rect 356 288 372 352
rect 436 288 452 352
rect 356 272 452 288
rect 356 208 372 272
rect 436 208 452 272
rect 356 192 452 208
rect 356 128 372 192
rect 436 128 452 192
rect 356 112 452 128
rect 356 48 372 112
rect 436 48 452 112
rect 356 32 452 48
rect 356 -32 372 32
rect 436 -32 452 32
rect 356 -48 452 -32
rect 356 -112 372 -48
rect 436 -112 452 -48
rect 356 -128 452 -112
rect 356 -192 372 -128
rect 436 -192 452 -128
rect 356 -208 452 -192
rect 356 -272 372 -208
rect 436 -272 452 -208
rect 356 -288 452 -272
rect 356 -352 372 -288
rect 436 -352 452 -288
rect 356 -368 452 -352
rect 356 -432 372 -368
rect 436 -432 452 -368
rect 356 -448 452 -432
rect 356 -512 372 -448
rect 436 -512 452 -448
rect 356 -528 452 -512
rect 356 -592 372 -528
rect 436 -592 452 -528
rect 356 -608 452 -592
rect 356 -672 372 -608
rect 436 -672 452 -608
rect 356 -688 452 -672
rect 356 -752 372 -688
rect 436 -752 452 -688
rect 356 -768 452 -752
rect 356 -832 372 -768
rect 436 -832 452 -768
rect 356 -848 452 -832
rect 356 -912 372 -848
rect 436 -912 452 -848
rect 356 -928 452 -912
rect 356 -992 372 -928
rect 436 -992 452 -928
rect 356 -1008 452 -992
rect 356 -1072 372 -1008
rect 436 -1072 452 -1008
rect 356 -1088 452 -1072
rect 356 -1152 372 -1088
rect 436 -1152 452 -1088
rect 356 -1168 452 -1152
rect 356 -1232 372 -1168
rect 436 -1232 452 -1168
rect 356 -1248 452 -1232
rect 356 -1312 372 -1248
rect 436 -1312 452 -1248
rect 356 -1328 452 -1312
rect 356 -1392 372 -1328
rect 436 -1392 452 -1328
rect 356 -1408 452 -1392
rect 356 -1472 372 -1408
rect 436 -1472 452 -1408
rect 356 -1488 452 -1472
rect 356 -1552 372 -1488
rect 436 -1552 452 -1488
rect 356 -1568 452 -1552
rect 356 -1632 372 -1568
rect 436 -1632 452 -1568
rect 356 -1648 452 -1632
rect 356 -1712 372 -1648
rect 436 -1712 452 -1648
rect 356 -1728 452 -1712
rect 356 -1792 372 -1728
rect 436 -1792 452 -1728
rect 356 -1808 452 -1792
rect 356 -1872 372 -1808
rect 436 -1872 452 -1808
rect 356 -1888 452 -1872
rect 356 -1952 372 -1888
rect 436 -1952 452 -1888
rect 356 -1968 452 -1952
rect 356 -2032 372 -1968
rect 436 -2032 452 -1968
rect 356 -2048 452 -2032
rect 356 -2112 372 -2048
rect 436 -2112 452 -2048
rect 356 -2128 452 -2112
rect 356 -2192 372 -2128
rect 436 -2192 452 -2128
rect 356 -2208 452 -2192
rect 356 -2272 372 -2208
rect 436 -2272 452 -2208
rect 356 -2308 452 -2272
<< properties >>
string FIXED_BBOX -456 -2320 384 2320
<< end >>

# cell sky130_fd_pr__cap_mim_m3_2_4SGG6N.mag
magic
tech sky130A
magscale 1 2
<< metal4 >>
rect -2231 2198 2231 2320
rect -2231 1962 1975 2198
rect 2211 1962 2231 2198
rect -2231 1878 2231 1962
rect -2231 1642 1975 1878
rect 2211 1642 2231 1878
rect -2231 1558 2231 1642
rect -2231 1322 1975 1558
rect 2211 1322 2231 1558
rect -2231 1238 2231 1322
rect -2231 1002 1975 1238
rect 2211 1002 2231 1238
rect -2231 918 2231 1002
rect -2231 682 1975 918
rect 2211 682 2231 918
rect -2231 598 2231 682
rect -2231 362 1975 598
rect 2211 362 2231 598
rect -2231 278 2231 362
rect -2231 42 1975 278
rect 2211 42 2231 278
rect -2231 -42 2231 42
rect -2231 -278 1975 -42
rect 2211 -278 2231 -42
rect -2231 -362 2231 -278
rect -2231 -598 1975 -362
rect 2211 -598 2231 -362
rect -2231 -682 2231 -598
rect -2231 -918 1975 -682
rect 2211 -918 2231 -682
rect -2231 -1002 2231 -918
rect -2231 -1238 1975 -1002
rect 2211 -1238 2231 -1002
rect -2231 -1322 2231 -1238
rect -2231 -1558 1975 -1322
rect 2211 -1558 2231 -1322
rect -2231 -1642 2231 -1558
rect -2231 -1878 1975 -1642
rect 2211 -1878 2231 -1642
rect -2231 -1962 2231 -1878
rect -2231 -2198 1975 -1962
rect 2211 -2198 2231 -1962
rect -2231 -2320 2231 -2198
<< via4 >>
rect 1975 1962 2211 2198
rect 1975 1642 2211 1878
rect 1975 1322 2211 1558
rect 1975 1002 2211 1238
rect 1975 682 2211 918
rect 1975 362 2211 598
rect 1975 42 2211 278
rect 1975 -278 2211 -42
rect 1975 -598 2211 -362
rect 1975 -918 2211 -682
rect 1975 -1238 2211 -1002
rect 1975 -1558 2211 -1322
rect 1975 -1878 2211 -1642
rect 1975 -2198 2211 -1962
<< mimcap2 >>
rect -2131 2038 1629 2220
rect -2131 -2038 -1969 2038
rect 1467 -2038 1629 2038
rect -2131 -2220 1629 -2038
<< mimcap2contact >>
rect -1969 -2038 1467 2038
<< metal5 >>
rect -2115 2038 1613 2204
rect -2115 -2038 -1969 2038
rect 1467 -2038 1613 2038
rect -2115 -2204 1613 -2038
rect 1933 2198 2253 2321
rect 1933 1962 1975 2198
rect 2211 1962 2253 2198
rect 1933 1878 2253 1962
rect 1933 1642 1975 1878
rect 2211 1642 2253 1878
rect 1933 1558 2253 1642
rect 1933 1322 1975 1558
rect 2211 1322 2253 1558
rect 1933 1238 2253 1322
rect 1933 1002 1975 1238
rect 2211 1002 2253 1238
rect 1933 918 2253 1002
rect 1933 682 1975 918
rect 2211 682 2253 918
rect 1933 598 2253 682
rect 1933 362 1975 598
rect 2211 362 2253 598
rect 1933 278 2253 362
rect 1933 42 1975 278
rect 2211 42 2253 278
rect 1933 -42 2253 42
rect 1933 -278 1975 -42
rect 2211 -278 2253 -42
rect 1933 -362 2253 -278
rect 1933 -598 1975 -362
rect 2211 -598 2253 -362
rect 1933 -682 2253 -598
rect 1933 -918 1975 -682
rect 2211 -918 2253 -682
rect 1933 -1002 2253 -918
rect 1933 -1238 1975 -1002
rect 2211 -1238 2253 -1002
rect 1933 -1322 2253 -1238
rect 1933 -1558 1975 -1322
rect 2211 -1558 2253 -1322
rect 1933 -1642 2253 -1558
rect 1933 -1878 1975 -1642
rect 2211 -1878 2253 -1642
rect 1933 -1962 2253 -1878
rect 1933 -2198 1975 -1962
rect 2211 -2198 2253 -1962
rect 1933 -2321 2253 -2198
<< properties >>
string FIXED_BBOX -2231 -2320 1729 2320
<< end >>

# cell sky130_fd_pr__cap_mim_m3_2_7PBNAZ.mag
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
